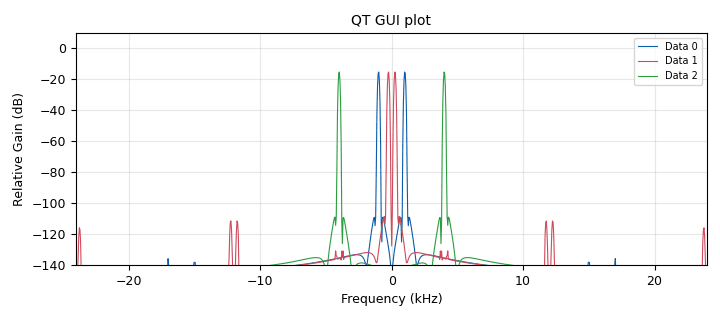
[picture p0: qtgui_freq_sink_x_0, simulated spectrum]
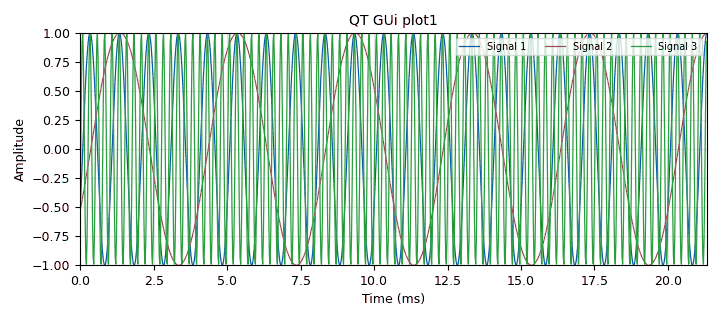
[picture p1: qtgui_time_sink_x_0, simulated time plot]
options:
  parameters:
    author: Nicolas_Murillo_2164692
    copyright: UIS
    generate_options: qt_gui
    id: diezmar
    output_language: python
    title: diezmareinterpolar
  states: {}

blocks:
- name: samp_rate
  id: variable
  parameters:
    value: '48000'
  states: {}
- name: analog_sig_source_x_0
  id: analog_sig_source_x
  parameters:
    amp: '1'
    freq: '1000'
    offset: '0'
    phase: '0'
    samp_rate: samp_rate
    type: float
    waveform: analog.GR_COS_WAVE
  states: {}
- name: analog_sig_source_x_1
  id: analog_sig_source_x
  parameters:
    amp: '1'
    freq: '1000'
    offset: '0'
    phase: '0'
    samp_rate: samp_rate
    type: float
    waveform: analog.GR_COS_WAVE
  states: {}
- name: analog_sig_source_x_2
  id: analog_sig_source_x
  parameters:
    amp: '1'
    freq: '1000'
    offset: '0'
    phase: '0'
    samp_rate: samp_rate
    type: float
    waveform: analog.GR_COS_WAVE
  states: {}
- name: blocks_throttle_0
  id: blocks_throttle
  parameters:
    samples_per_second: samp_rate
    type: float
  states: {}
- name: qtgui_freq_sink_x_0
  id: qtgui_freq_sink_x
  parameters:
    bw: samp_rate
    fc: '0'
    fftsize: '1024'
    name: '"QT GUI plot"'
    nconnections: '3'
    type: float
    wintype: firdes.WIN_BLACKMAN_hARRIS
  states: {}
- name: qtgui_time_sink_x_0
  id: qtgui_time_sink_x
  parameters:
    name: '"QT GUi plot1"'
    nconnections: '3'
    size: '1024'
    srate: samp_rate
    type: float
  states: {}
- name: rational_resampler_xxx_0
  id: rational_resampler_xxx
  parameters:
    decim: '1'
    interp: '1'
    taps: ''
    type: fff
  states: {}
- name: rational_resampler_xxx_1
  id: rational_resampler_xxx
  parameters:
    decim: '1'
    interp: '4'
    taps: ''
    type: fff
  states: {}
- name: rational_resampler_xxx_2
  id: rational_resampler_xxx
  parameters:
    decim: '4'
    interp: '1'
    taps: ''
    type: fff
  states: {}

connections:
- [analog_sig_source_x_0, '0', rational_resampler_xxx_0, '0']
- [analog_sig_source_x_1, '0', rational_resampler_xxx_1, '0']
- [analog_sig_source_x_2, '0', rational_resampler_xxx_2, '0']
- [blocks_throttle_0, '0', qtgui_freq_sink_x_0, '0']
- [blocks_throttle_0, '0', qtgui_time_sink_x_0, '0']
- [rational_resampler_xxx_0, '0', blocks_throttle_0, '0']
- [rational_resampler_xxx_1, '0', qtgui_freq_sink_x_0, '1']
- [rational_resampler_xxx_1, '0', qtgui_time_sink_x_0, '1']
- [rational_resampler_xxx_2, '0', qtgui_freq_sink_x_0, '2']
- [rational_resampler_xxx_2, '0', qtgui_time_sink_x_0, '2']

metadata:
  file_format: 1
